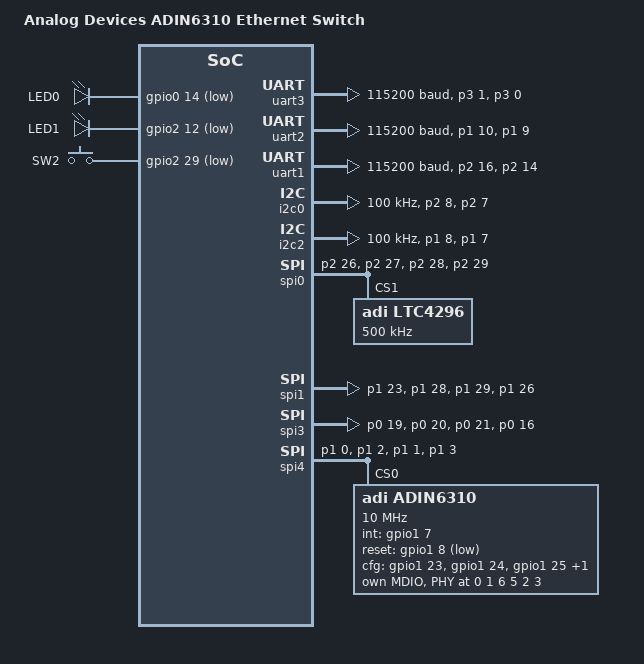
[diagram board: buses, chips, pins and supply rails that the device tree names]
/*
 * Copyright (c) 2023 Analog Devices, Inc.
 *
 * SPDX-License-Identifier: Apache-2.0
 */

/dts-v1/;

#include <adi/max32/max32690.dtsi>
#include <adi/max32/max32690-pinctrl.dtsi>
#include <zephyr/dt-bindings/gpio/adi-max32-gpio.h>
#include <zephyr/dt-bindings/sensor/ltc4296.h>

/ {
	model = "Analog Devices ADIN6310 Ethernet Switch";
	compatible = "adi,adin6310switch";

	soc {
		sram_all: memory@20020000 {
			compatible = "mmio-sram";
			reg = <0x20020000 DT_SIZE_K(1024)>;
		};
	};

	chosen {
		zephyr,console = &uart3;
		zephyr,shell-uart = &uart3;
		zephyr,sram = &sram_all;
		zephyr,flash = &flash0;
	};

	leds {
		compatible = "gpio-leds";
		red_led: led_0 {
			gpios = <&gpio0 14 GPIO_ACTIVE_LOW>;
			label = "LED0";
		};
		green_led: led_1 {
			gpios = <&gpio2 12 GPIO_ACTIVE_LOW>;
			label = "LED1";
		};
	};

	buttons {
		compatible = "gpio-keys";
		pb0: pb0 {
			/* SW2 on EVKIT connects to GPIO4 which does not support interrupts,
			 * so advised to fit jumper on JH5 to connect SW2 (P4.0) to P2.29
			 */
			gpios = <&gpio2 29 (GPIO_PULL_UP | GPIO_ACTIVE_LOW)>;
			label = "SW2";
		};
	};

	aliases {
		led0 = &red_led;
		led1 = &green_led;
		sw0 = &pb0;
	 };
};

&clk_ipo {
	status = "okay";
};

/*
 * ERTCO requires for RTC
 */
&clk_ertco {
	status = "okay";
};

&gpio0 {
	status = "okay";
};

&gpio1 {
	status = "okay";
};

&gpio2 {
	status = "okay";
};

&gpio3 {
	status = "okay";
};

&uart3 {
	pinctrl-0 = <&lpuart0b_tx_p3_1 &lpuart0b_rx_p3_0>;
	pinctrl-names = "default";
	current-speed = <115200>;
	data-bits = <8>;
	parity = "none";
	status = "okay";
};

&uart2 {
	pinctrl-0 = <&uart2a_tx_p1_10 &uart2a_rx_p1_9>;
	pinctrl-names = "default";
	current-speed = <115200>;
	data-bits = <8>;
	parity = "none";
	status = "okay";
};

&uart1 {
	pinctrl-0 = <&uart1a_tx_p2_16 &uart1a_rx_p2_14>;
	pinctrl-names = "default";
	current-speed = <115200>;
	data-bits = <8>;
	parity = "none";
	status = "okay";
};

&i2c0 {
	pinctrl-0 = <&i2c0a_scl_p2_8 &i2c0a_sda_p2_7>;
	pinctrl-names = "default";
	clock-frequency = <I2C_BITRATE_STANDARD>;
	status = "okay";
};

&i2c2 {
	pinctrl-0 = <&i2c2c_scl_p1_8 &i2c2c_sda_p1_7>;
	pinctrl-names = "default";
	clock-frequency = <I2C_BITRATE_STANDARD>;
	status = "okay";
};

&spi0b_ss1_p2_26 {
	power-source = <MAX32_VSEL_VDDIOH>;
};
&spi0b_miso_p2_27 {
	power-source = <MAX32_VSEL_VDDIOH>;
};
&spi0b_mosi_p2_28 {
	power-source = <MAX32_VSEL_VDDIOH>;
};
&spi0b_ss1_p2_26 {
	power-source = <MAX32_VSEL_VDDIOH>;
};
&spi0b_sck_p2_29 {
	power-source = <MAX32_VSEL_VDDIOH>;
};

&spi4a_ss0_p1_0 {
	power-source = <MAX32_VSEL_VDDIO>;
};

&spi4a_mosi_p1_1 {
	power-source = <MAX32_VSEL_VDDIO>;
};

&spi4a_miso_p1_2 {
	power-source = <MAX32_VSEL_VDDIO>;
};

&spi4a_sck_p1_3 {
	power-source = <MAX32_VSEL_VDDIO>;
};

&spi4a_sdio2_p1_4 {
	power-source = <MAX32_VSEL_VDDIO>;
};

&spi4a_sdio3_p1_5 {
	power-source = <MAX32_VSEL_VDDIO>;
};

&spi0 {
	pinctrl-0 = <&spi0b_ss1_p2_26 &spi0b_miso_p2_27
			&spi0b_mosi_p2_28 &spi0b_sck_p2_29>;
	pinctrl-names = "default";
	status = "okay";
	ltc4296: ltc4296@1 {
		compatible = "adi,ltc4296";
		zephyr,deferred-init;
		spi-max-frequency = <500000>;
		reg = <0x1>;

		port0 {
			sccpi-gpios = <&gpio2 14 (GPIO_ACTIVE_HIGH | GPIO_PULL_UP | MAX32_GPIO_VSEL_VDDIOH)>;
			sccpo-gpios = <&gpio2 15 (GPIO_ACTIVE_LOW | GPIO_PULL_UP | MAX32_GPIO_VSEL_VDDIOH)>;
			adi,power-class = <LTC4296_PSE_SCCP_CLASS_12>;
			adi,hs-resistor = <250>;
		};

		port1 {
			sccpi-gpios = <&gpio2 16 (GPIO_ACTIVE_HIGH | GPIO_PULL_UP | MAX32_GPIO_VSEL_VDDIOH)>;
			sccpo-gpios = <&gpio2 17 (GPIO_ACTIVE_LOW | GPIO_PULL_UP | MAX32_GPIO_VSEL_VDDIOH)>;
			adi,power-class = <LTC4296_PSE_SCCP_CLASS_12>;
			adi,hs-resistor = <250>;
		};

		port2 {
			sccpi-gpios = <&gpio2 18 (GPIO_ACTIVE_HIGH | GPIO_PULL_UP | MAX32_GPIO_VSEL_VDDIOH)>;
			sccpo-gpios = <&gpio2 20 (GPIO_ACTIVE_LOW | GPIO_PULL_UP | MAX32_GPIO_VSEL_VDDIOH)>;
			adi,power-class = <LTC4296_PSE_SCCP_CLASS_12>;
			adi,hs-resistor = <250>;
		};

		port3 {
			sccpi-gpios = <&gpio2 21 (GPIO_ACTIVE_HIGH | GPIO_PULL_UP | MAX32_GPIO_VSEL_VDDIOH)>;
			sccpo-gpios = <&gpio2 22 (GPIO_ACTIVE_LOW | GPIO_PULL_UP | MAX32_GPIO_VSEL_VDDIOH)>;
			adi,power-class = <LTC4296_PSE_SCCP_CLASS_12>;
			adi,hs-resistor = <250>;
		};
	};
};

&spi1 {
	pinctrl-0 = <&spi1a_ss0_p1_23 &spi1a_miso_p1_28
				&spi1a_mosi_p1_29 &spi1a_sck_p1_26>;
};

&spi3 {
	pinctrl-0 = <&spi3a_ss0_p0_19 &spi3a_miso_p0_20
				&spi3a_mosi_p0_21 &spi3a_sck_p0_16>;
};

&spi4 {
	pinctrl-0 = <&spi4a_ss0_p1_0 &spi4a_miso_p1_2
		     &spi4a_mosi_p1_1 &spi4a_sck_p1_3>;

	pinctrl-names = "default";
	status = "okay";

	adin6310: adin6310@0 {
		compatible = "adi,adin6310";
		reg = <0x0>;
		spi-max-frequency = <10000000>;
		int-gpios = <&gpio1 7 (GPIO_ACTIVE_HIGH | MAX32_GPIO_VSEL_VDDIO)>;
		reset-gpios = <&gpio1 8 (GPIO_ACTIVE_LOW | MAX32_GPIO_VSEL_VDDIO)>;
		cfg-gpios = <&gpio1 23 (GPIO_ACTIVE_HIGH | MAX32_GPIO_VSEL_VDDIOH)>,
			    <&gpio1 24 (GPIO_ACTIVE_HIGH | MAX32_GPIO_VSEL_VDDIOH)>,
			    <&gpio1 25 (GPIO_ACTIVE_HIGH | MAX32_GPIO_VSEL_VDDIOH)>,
			    <&gpio1 26 (GPIO_ACTIVE_HIGH | MAX32_GPIO_VSEL_VDDIOH)>;

		port0 {
			local-mac-address = [ 00 18 80 03 25 60 ];
			phy-connection-type = "rgmii";
		};
		port1 {
			local-mac-address = [ 00 18 80 03 25 61 ];
			phy-connection-type = "rgmii";
		};
		port2 {
			cpu-port;
			local-mac-address = [ 00 18 80 03 25 62 ];
			phy-connection-type = "rgmii";
		};
		port3 {
			local-mac-address = [ 00 18 80 03 25 63 ];
			phy-connection-type = "rgmii";
		};
		port4 {
			local-mac-address = [ 00 18 80 03 25 64 ];
			phy-connection-type = "rgmii";
		};
		port5 {
			local-mac-address = [ 00 18 80 03 25 65 ];
			phy-connection-type = "rgmii";
		};

		mdio {
			compatible = "adi,adin6310-mdio";
			#address-cells = <1>;
			#size-cells = <0>;
			status = "okay";

			phy0: ethernet-phy@0 {
				reg = <0x0>;
				compatible = "adi,adin1100-phy";
				status = "okay";
			};
			phy1: ethernet-phy@1 {
				reg = <0x1>;
				compatible = "adi,adin1100-phy";
				status = "okay";
			};
			phy3: ethernet-phy@6 {
				reg = <0x6>;
				compatible = "ethernet-phy";
				status = "okay";
			};
			phy4: ethernet-phy@5 {
				reg = <0x5>;
				compatible = "ethernet-phy";
				status = "okay";
			};
			phy5: ethernet-phy@2 {
				reg = <0x2>;
				compatible = "adi,adin1100-phy";
				status = "okay";
			};
			phy6: ethernet-phy@3 {
				reg = <0x3>;
				compatible = "adi,adin1100-phy";
				status = "okay";
			};
		};
	};
};
